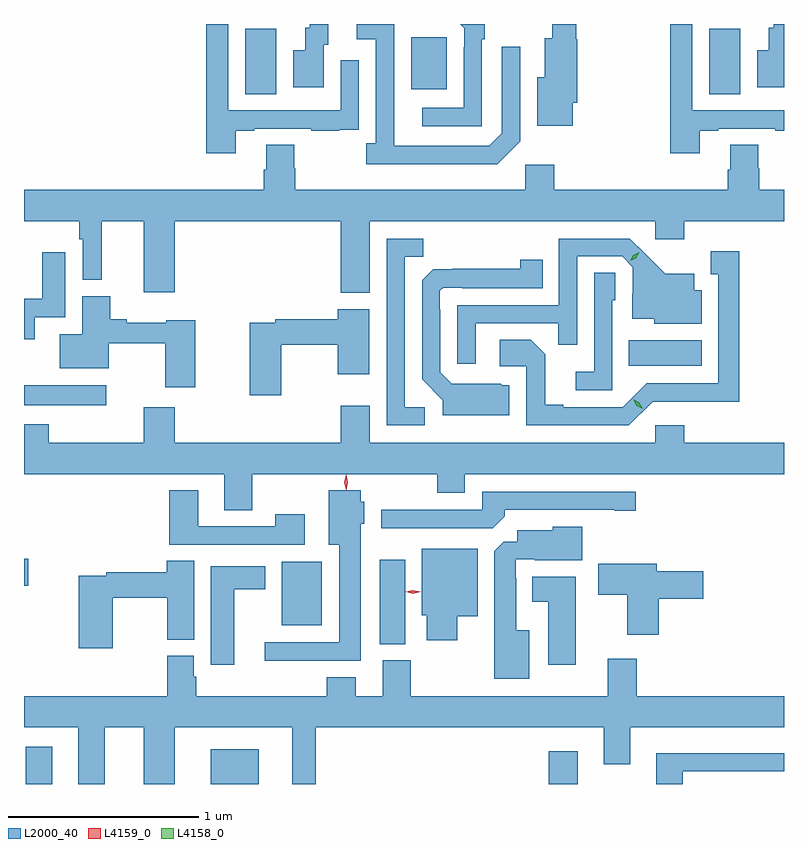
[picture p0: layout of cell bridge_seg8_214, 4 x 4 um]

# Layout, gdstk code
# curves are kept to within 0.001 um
import gdstk
lib = gdstk.Library(unit=1e-6, precision=1e-09)
def R(c, l, rs):  # rectangles x0, y0, x1, y1
    for r in rs: c.add(gdstk.rectangle(r[:2], r[2:], *l))
def P(c, l, *ps):  # polygons
    for p in ps: c.add(gdstk.Polygon(p, *l))
L2000_40 = (2000, 40)
L4158_0 = (4158, 0)
L4159_0 = (4159, 0)

bridge_seg8_214 = lib.new_cell('bridge_seg8_214')
R(bridge_seg8_214, L2000_40, [(152.399,1121.529,152.539,1121.725), (153.374,1121.529,153.625,1121.713), (155.153,1121.529,155.305,1121.701), (154.262,1122.265,154.396,1122.709), (153.746,1122.365,153.958,1122.7), (152.39,1122.572,152.413,1122.714), (152.39,1123.523,152.824,1123.627), (155.572,1123.73,155.956,1123.864), (153.554,1125.16,153.718,1125.504), (155.996,1125.16,156.16,1125.504), (154.427,1125.185,154.615,1125.46)])
P(bridge_seg8_214, L2000_40, [(153.505,1124.967),(153.601,1124.967),(153.601,1124.979),(153.901,1124.979),(153.901,1124.967),(154.049,1124.967),(154.049,1124.973),(154.151,1124.973),(154.151,1125.082),(154.152,1125.082),(154.152,1125.337),(154.056,1125.337),(154.056,1125.075),(153.465,1125.075),(153.465,1125.529),(153.349,1125.529),(153.349,1124.85),(153.505,1124.85)],
  [(153.967,1125.42),(153.991,1125.42),(153.991,1125.529),(153.894,1125.529),(153.894,1125.51),(153.869,1125.51),(153.869,1125.391),(153.806,1125.391),(153.806,1125.195),(153.967,1125.195)],
  [(154.8,1125.449),(154.815,1125.449),(154.815,1125.529),(154.685,1125.529),(154.707,1125.507),(154.707,1125.407),(154.704,1125.407),(154.704,1125.087),(154.485,1125.087),(154.485,1124.991),(154.8,1124.991)],
  [(155.947,1124.967),(156.043,1124.967),(156.043,1124.979),(156.343,1124.979),(156.343,1124.967),(156.39,1124.967),(156.39,1125.075),(155.907,1125.075),(155.907,1125.529),(155.791,1125.529),(155.791,1124.85),(155.947,1124.85)],
  [(155.001,1124.913),(155.001,1125.409),(154.905,1125.409),(154.905,1124.955),(154.839,1124.889),(154.339,1124.889),(154.338,1125.529),(154.14,1125.529),(154.14,1125.45),(154.242,1125.45),(154.242,1124.902),(154.191,1124.902),(154.191,1124.792),(154.88,1124.792)],
  [(155.278,1125.114),(155.303,1125.114),(155.303,1125.45),(155.297,1125.45),(155.297,1125.529),(155.169,1125.529),(155.169,1125.454),(155.132,1125.454),(155.132,1125.25),(155.09,1125.25),(155.09,1124.993),(155.278,1124.993)],
  [(156.39,1125.529),(156.336,1125.529),(156.336,1125.51),(156.311,1125.51),(156.311,1125.391),(156.248,1125.391),(156.248,1125.195),(156.39,1125.195)],
  [(154.21,1124.492),(155.712,1124.492),(155.712,1124.397),(155.864,1124.397),(155.864,1124.492),(156.39,1124.492),(156.39,1124.656),(156.26,1124.656),(156.26,1124.769),(156.255,1124.769),(156.255,1124.894),(156.107,1124.894),(156.107,1124.762),(156.095,1124.762),(156.095,1124.656),(155.18,1124.656),(155.18,1124.788),(155.028,1124.788),(155.028,1124.656),(153.818,1124.656),(153.818,1124.769),(153.813,1124.769),(153.813,1124.894),(153.665,1124.894),(153.665,1124.762),(153.653,1124.762),(153.653,1124.656),(152.39,1124.656),(152.39,1124.492),(152.68,1124.492),(152.68,1124.396),(152.7,1124.396),(152.7,1124.184),(152.799,1124.184),(152.799,1124.492),(153.02,1124.492),(153.02,1124.118),(153.184,1124.118),(153.184,1124.492),(154.058,1124.492),(154.058,1124.114),(154.21,1124.114)],
  [(154.498,1123.512),(154.395,1123.512),(154.395,1124.305),(154.491,1124.305),(154.491,1124.4),(154.299,1124.4),(154.299,1123.416),(154.498,1123.416)],
  [(154.767,1123.953),(155.203,1123.953),(155.203,1123.84),(155.301,1123.84),(155.301,1124.307),(155.538,1124.307),(155.595,1124.25),(155.595,1124.108),(155.591,1124.108),(155.591,1123.979),(155.706,1123.979),(155.706,1123.952),(155.956,1123.952),(155.956,1124.128),(155.917,1124.128),(155.917,1124.215),(155.765,1124.215),(155.578,1124.4),(155.205,1124.4),(155.205,1124.049),(154.671,1124.049),(154.671,1123.74),(154.767,1123.74)],
  [(155.7,1123.542),(156.155,1123.541),(156.155,1124.332),(156.005,1124.332),(156.005,1124.211),(156.044,1124.211),(156.044,1123.638),(155.667,1123.638),(155.541,1123.512),(155.227,1123.512),(155.227,1123.525),(155.133,1123.525),(155.133,1123.792),(155.057,1123.868),(154.893,1123.868),(154.893,1123.728),(155.034,1123.728),(155.034,1123.416),(155.574,1123.416)],
  [(152.446,1123.986),(152.608,1123.986),(152.608,1124.329),(152.486,1124.329),(152.486,1124.082),(152.39,1124.082),(152.39,1123.869),(152.446,1123.869)],
  [(154.945,1123.627),(154.907,1123.627),(154.898,1123.636),(154.641,1123.635),(154.581,1123.695),(154.581,1124.024),(154.578,1124.024),(154.578,1124.124),(154.596,1124.142),(154.696,1124.142),(154.696,1124.139),(155.12,1124.139),(155.12,1124.287),(155.002,1124.287),(155.002,1124.24),(154.544,1124.239),(154.485,1124.18),(154.485,1123.658),(154.595,1123.548),(154.595,1123.469),(154.945,1123.469)],
  [(155.487,1124.076),(155.502,1124.076),(155.502,1124.219),(155.391,1124.219),(155.391,1123.699),(155.295,1123.699),(155.295,1123.602),(155.487,1123.602)],
  [(153.292,1123.969),(153.138,1123.969),(153.138,1123.957),(152.932,1123.957),(152.932,1123.976),(152.844,1123.976),(152.844,1124.095),(152.696,1124.095),(152.696,1123.897),(152.579,1123.897),(152.579,1123.718),(152.836,1123.718),(152.836,1123.848),(153.134,1123.848),(153.134,1123.617),(153.292,1123.617)],
  [(153.744,1123.84),(154.04,1123.84),(154.04,1123.686),(154.207,1123.686),(154.207,1124.029),(154.04,1124.029),(154.04,1123.976),(153.712,1123.976),(153.712,1123.956),(153.578,1123.956),(153.578,1123.575),(153.744,1123.575)],
  [(153.591,1123.16),(154.564,1123.16),(154.564,1123.061),(154.711,1123.061),(154.711,1123.16),(156.39,1123.16),(156.39,1123.324),(155.864,1123.324),(155.864,1123.417),(155.712,1123.417),(155.712,1123.324),(154.21,1123.324),(154.21,1123.519),(154.058,1123.519),(154.058,1123.324),(153.184,1123.324),(153.184,1123.513),(153.02,1123.513),(153.02,1123.324),(152.521,1123.324),(152.521,1123.423),(152.39,1123.423),(152.39,1123.16),(153.443,1123.16),(153.443,1122.97),(153.591,1122.97)],
  [(153.868,1122.949),(153.712,1122.949),(153.712,1122.885),(153.307,1122.885),(153.307,1123.075),(153.155,1123.075),(153.155,1122.789),(153.868,1122.789)],
  [(154.162,1122.9),(154.18,1122.9),(154.18,1123.014),(154.162,1123.014),(154.162,1123.075),(153.995,1123.075),(153.995,1122.788),(154.049,1122.788),(154.049,1122.276),(153.657,1122.276),(153.657,1122.179),(154.162,1122.179)],
  [(154.919,1122.938),(154.919,1122.972),(155.498,1122.972),(155.498,1122.967),(155.611,1122.967),(155.611,1123.068),(154.803,1123.068),(154.803,1122.972),(154.269,1122.972),(154.269,1122.876),(154.857,1122.876)],
  [(155.05,1122.337),(154.981,1122.337),(154.981,1122.611),(154.977,1122.611),(154.977,1122.711),(155.077,1122.711),(155.077,1122.707),(155.329,1122.707),(155.329,1122.883),(155.172,1122.883),(155.172,1122.865),(154.985,1122.865),(154.985,1122.804),(154.914,1122.804),(154.865,1122.755),(154.865,1122.083),(155.05,1122.083)],
  [(154.669,1122.413),(154.777,1122.413),(154.777,1122.766),(154.484,1122.766),(154.484,1122.417),(154.511,1122.417),(154.511,1122.285),(154.669,1122.285)],
  [(152.856,1122.508),(153.145,1122.508),(153.145,1122.289),(153.286,1122.289),(153.286,1122.704),(153.14,1122.704),(153.14,1122.644),(152.824,1122.644),(152.824,1122.624),(152.678,1122.624),(152.678,1122.243),(152.856,1122.243)],
  [(155.732,1122.503),(155.965,1122.503),(155.965,1122.65),(155.719,1122.65),(155.719,1122.688),(155.412,1122.688),(155.412,1122.526),(155.564,1122.526),(155.564,1122.315),(155.732,1122.315)],
  [(153.496,1122.554),(153.661,1122.554),(153.661,1122.676),(153.374,1122.676),(153.374,1122.156),(153.496,1122.156)],
  [(155.293,1122.619),(155.066,1122.619),(155.066,1122.488),(155.15,1122.488),(155.15,1122.156),(155.293,1122.156)],
  [(152.815,1121.828),(153.02,1121.828),(153.02,1121.529),(153.184,1121.529),(153.184,1121.828),(153.803,1121.828),(153.803,1121.529),(153.925,1121.529),(153.925,1121.828),(155.441,1121.828),(155.441,1121.634),(155.581,1121.634),(155.581,1121.828),(156.39,1121.828),(156.39,1121.992),(155.615,1121.992),(155.615,1122.187),(155.462,1122.187),(155.462,1121.992),(154.425,1121.992),(154.425,1122.18),(154.277,1122.18),(154.277,1121.992),(154.135,1121.992),(154.135,1122.091),(153.983,1122.091),(153.983,1121.992),(153.296,1121.992),(153.296,1122.093),(153.283,1122.093),(153.283,1122.204),(153.143,1122.204),(153.143,1121.992),(152.39,1121.992),(152.39,1121.828),(152.675,1121.828),(152.675,1121.529),(152.815,1121.529)],
  [(155.857,1121.595),(156.39,1121.595),(156.39,1121.692),(155.717,1121.692),(155.717,1121.529),(155.857,1121.529)])
P(bridge_seg8_214, L4158_0, [(155.646,1123.503),(155.614,1123.521),(155.596,1123.553),(155.596,1123.554),(155.596,1123.554),(155.628,1123.535),(155.646,1123.503),(155.646,1123.503)],
  [(155.58,1124.282),(155.58,1124.282),(155.597,1124.312),(155.627,1124.327),(155.627,1124.327),(155.627,1124.327),(155.61,1124.297),(155.58,1124.282)])
P(bridge_seg8_214, L4159_0, [(154.437,1122.53),(154.398,1122.54),(154.398,1122.54),(154.398,1122.54),(154.437,1122.55),(154.477,1122.54),(154.477,1122.54),(154.477,1122.54)],
  [(154.085,1123.074),(154.085,1123.075),(154.075,1123.116),(154.085,1123.156),(154.085,1123.157),(154.085,1123.156),(154.095,1123.116),(154.085,1123.075)])

lib.write_gds('bridge_seg8_214.gds')
